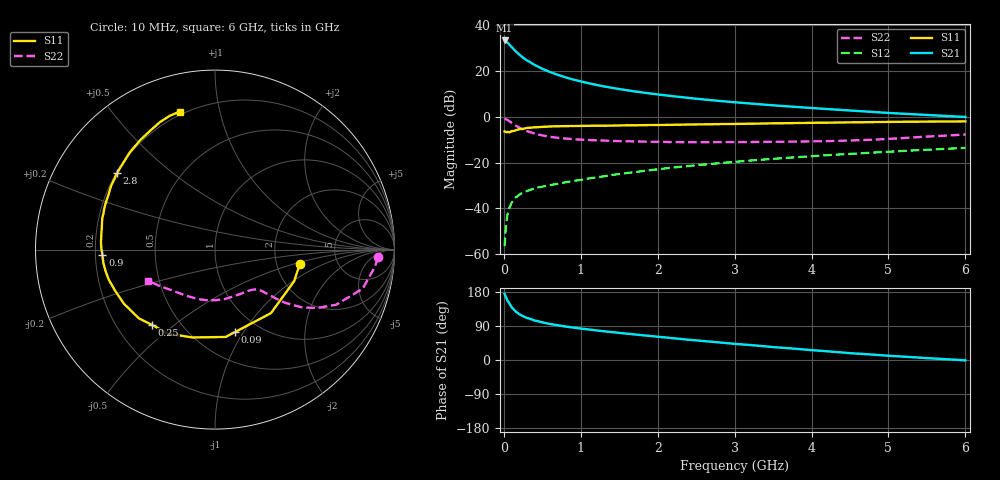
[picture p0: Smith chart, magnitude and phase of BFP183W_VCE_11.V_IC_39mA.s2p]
! (c) 2017  Infineon Technologies AG, Munich
! Infineon Technologies  Discrete & RF Semiconductors
! BFP183W
! VCE =  11. V,  IC =  39 mA
! Common Emitter S-Parameters:  Jan 2017
# GHz  S  MA  R  50
!  f  S11  S21  S12  S22
! GHz  MAG  ANG  MAG  ANG  MAG  ANG  MAG  ANG
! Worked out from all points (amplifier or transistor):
!   77 points, 10 MHz to 6 GHz, reference 50 ohm
!   highest |S21| = 33.3 dB at 10 MHz (marker M1)
!   |S21| within 3 dB of that: start of sweep to 106 MHz
!   unconditionally stable (mu >= 1): start of sweep to 12.51 MHz; 977.5 MHz to 3.807 GHz
!   at 130 MHz: K = 0.43, MSG = 32.8 dB, |S12| = -36.2 dB
!   at 2.2 GHz: K = 1.11, MAG = 13.6 dB, |S12| = -22.2 dB
!   at 6 GHz: K = 0.85, MSG = 6.7 dB, |S12| = -13.6 dB
!   S11 on the Smith chart (normalised r, x): 10 MHz: 2.72, -0.55; 90 MHz: 0.77, -0.92; 250 MHz: 0.35, -0.42; 900 MHz: 0.23, -0.02; 2.8 GHz: 0.20, +0.33; 6 GHz: 0.18, +0.76
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0.01  0.4795 -9.3  46.41 174.6  0.0015 52.1  0.9093 -2.7
0.02  0.4749 -21.7  45.62 169.1  0.0029 73.8  0.8965 -6.1
0.05  0.4717 -48.6  41.35 155.7  0.0077 67.5  0.8511 -14.8
0.09  0.4731 -76.5  34.94 143.1  0.0121 60.0  0.7613 -22.3
0.1  0.4903 -83.0  33.66 139.2  0.0132 58.9  0.7412 -24.5
0.15  0.5055 -104.4  27.3 128.6  0.0171 56.0  0.6497 -30.1
0.2  0.5365 -119.3  22.91 121.0  0.0198 53.3  0.5809 -33.6
0.25  0.5467 -129.8  19.52 115.3  0.0225 50.0  0.5287 -35.6
0.3  0.5715 -137.9  17.04 111.0  0.0239 47.6  0.487 -37.3
0.4  0.5902 -149.2  13.53 104.2  0.0276 48.1  0.4299 -38.9
0.5  0.602 -157.7  11.15 99.3  0.0299 48.1  0.3921 -40.0
0.6  0.6152 -164.2  9.503 95.1  0.0323 47.4  0.3656 -40.8
0.7  0.6215 -168.9  8.244 91.7  0.0344 50.1  0.3479 -41.4
0.9  0.6278 -177.1  6.516 85.6  0.0396 52.4  0.3251 -43.4
1.1  0.6362 176.6  5.415 80.7  0.0451 55.0  0.3121 -45.5
1.5  0.6469 166.7  4.037 71.6  0.0562 57.7  0.295 -51.4
2.1  0.6655 154.0  2.943 59.5  0.0747 59.4  0.2825 -63.0
2.8  0.693 141.8  2.221 46.3  0.0972 58.5  0.2808 -79.5
3.1  0.702 137.2  2.014 41.1  0.1074 57.5  0.2809 -86.8
4.1  0.7416 123.0  1.518 24.6  0.1415 52.9  0.2928 -112.0
5.1  0.7762 112.3  1.19 10.0  0.1763 47.1  0.3365 -138.6
6  0.7935 104.3  0.991 -1.0  0.2095 41.2  0.41 -154.9
